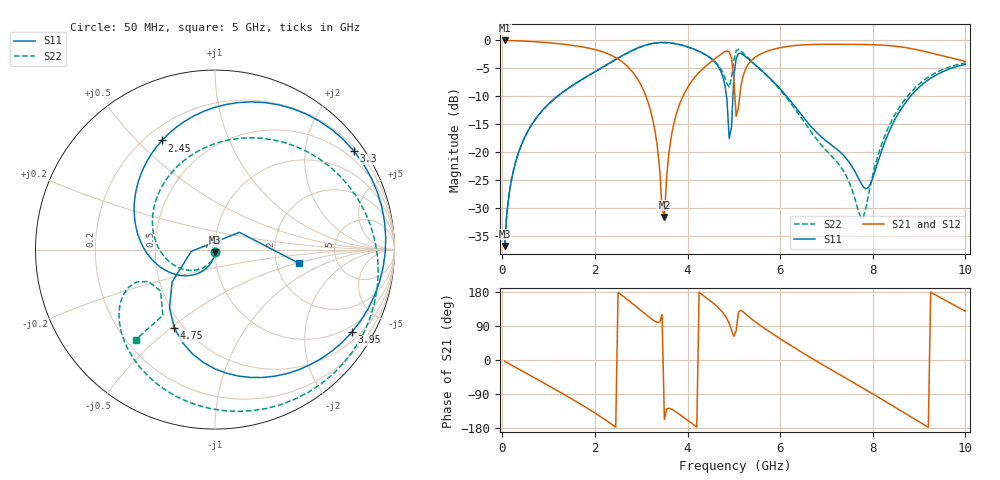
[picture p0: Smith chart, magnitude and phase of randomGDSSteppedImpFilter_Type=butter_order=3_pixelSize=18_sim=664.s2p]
! freq	dB(S11)	phase(S11)	dB(S12)	phase(S12)
!  dB(S21)	phase(S21)	dB(S22)	phase(S22)
!S-par simulation data
#  GHz  S  DB  R 50
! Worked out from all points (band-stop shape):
!   200 points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, 50 MHz to 10 GHz, reference 50 ohm
!   highest |S21| = -0.01 dB at 50 MHz (marker M1); lowest = -31.6 dB at 3.5 GHz (marker M2)
!   |S21| within 3 dB of the highest: start of sweep to 2.433 GHz; 5.465 GHz to 9.618 GHz (4.154 GHz wide, 55.1 % of centre) (the widest 2 of 3)
!   lowest |S11| = -36.8 dB at 50 MHz (marker M3), VSWR 1.03, Z = 49.9 - j1.44 ohm
!   |S11| at or under -10 dB: start of sweep to 1.192 GHz; 4.842 GHz to 4.981 GHz (139.1 MHz wide, 2.83 % of centre); 6.139 GHz to 8.814 GHz (2.676 GHz wide, 35.8 % of centre)
!   |S22| runs from -36.9 to -0.4 dB; largest |S21 - S12| = 0
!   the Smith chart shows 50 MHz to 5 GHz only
!   S11 on the Smith chart (normalised r, x): 50 MHz: 1.00, -0.03; 2.45 GHz: 0.27, +0.59; 3.3 GHz: 0.28, +3.12; 3.95 GHz: 0.77, -3.42; 4.75 GHz: 0.45, -0.51; 5 GHz: 2.69, -0.53
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0.05  -36.84 -92.6  -0.01 -3.4  -0.01 -3.4  -36.86 -93.4
0.2  -24.89 -102.1  -0.04 -13.6  -0.04 -13.6  -24.90 -105.2
0.5  -17.09 -120.4  -0.13 -33.9  -0.13 -33.9  -17.10 -128.3
1.75  -6.84 164.8  -1.19 -120.8  -1.19 -120.8  -6.86 131.9
2.45  -3.40 115.9  -3.08 -177.2  -3.08 -177.2  -3.43 67.0
3.3  -0.45 35.3  -16.35 102.1  -16.35 102.1  -0.49 -24.7
3.4  -0.37 24.8  -23.24 100.1  -23.24 100.1  -0.41 -35.7
3.5  -0.36 14.3  -31.63 -157.1  -31.63 -157.1  -0.40 -46.5
3.65  -0.46 -1.3  -17.17 -129.4  -17.17 -129.4  -0.49 -62.1
3.95  -1.01 -31.2  -9.19 -154.5  -9.19 -154.5  -1.04 -91.2
4.75  -6.17 -117.4  -2.31 127.0  -2.31 127.0  -5.60 -156.5
4.9  -17.54 -175.8  -2.05 96.4  -2.05 96.4  -8.39 -142.8
5  -6.46 -9.3  -6.76 62.5  -6.76 62.5  -3.50 -131.3
5.05  -3.23 -40.3  -13.61 77.6  -13.61 77.6  -1.87 -145.8
5.15  -2.32 -78.1  -8.32 131.2  -8.32 131.2  -1.86 -170.0
5.5  -4.66 -125.9  -2.80 97.5  -2.80 97.5  -4.66 148.3
6  -8.67 -159.2  -1.31 56.2  -1.31 56.2  -8.87 99.1
6.7  -15.73 -174.1  -0.73 3.1  -0.73 3.1  -16.74 10.9
7.75  -25.62 -141.8  -0.72 -71.5  -0.72 -71.5  -31.84 159.6
8.35  -16.40 -73.9  -0.93 -115.1  -0.93 -115.1  -15.37 14.8
9.1  -7.68 -110.9  -1.93 -170.2  -1.93 -170.2  -7.16 -51.1
10  -4.30 -169.0  -3.75 128.6  -3.75 128.6  -4.04 -113.9
